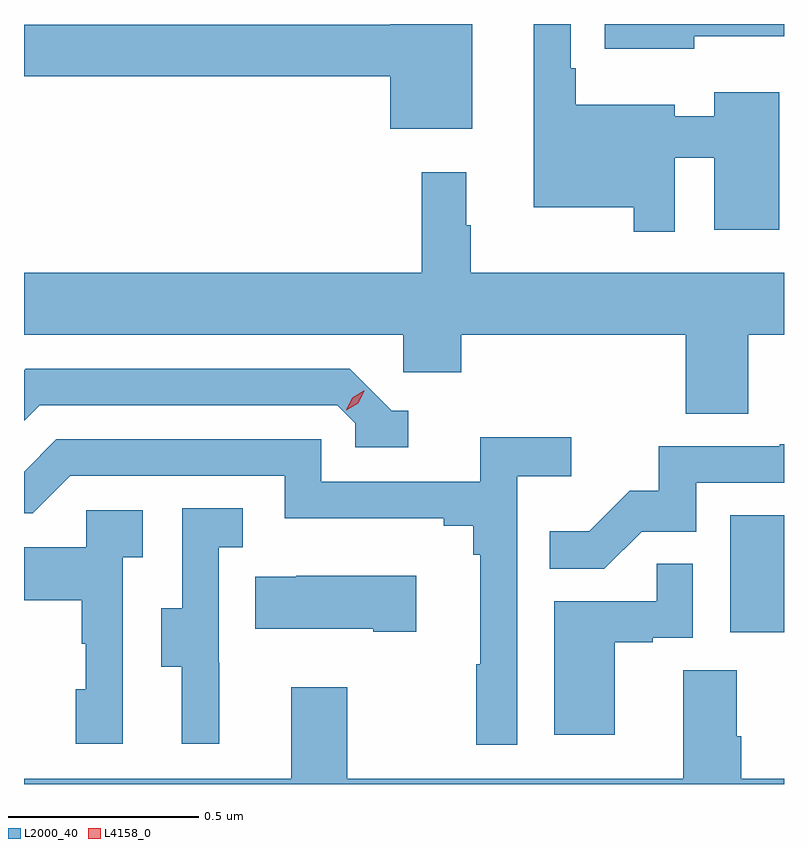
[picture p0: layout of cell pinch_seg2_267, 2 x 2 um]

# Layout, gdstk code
import gdstk
lib = gdstk.Library(unit=1e-6, precision=1e-09)
def R(c, l, rs):  # rectangles x0, y0, x1, y1
    for r in rs: c.add(gdstk.rectangle(r[:2], r[2:], *l))
def P(c, l, *ps):  # polygons
    for p in ps: c.add(gdstk.Polygon(p, *l))
L2000_40 = (2000, 40)
L4158_0 = (4158, 0)

pinch_seg2_267 = lib.new_cell('pinch_seg2_267')
R(pinch_seg2_267, L2000_40, [(912.836,660.174,912.978,660.481)])
P(pinch_seg2_267, L2000_40, [(912.69,661.422),(912.794,661.422),(912.794,661.233),(912.965,661.233),(912.965,661.594),(912.794,661.594),(912.794,661.531),(912.691,661.531),(912.691,661.561),(912.43,661.561),(912.43,661.657),(912.417,661.657),(912.417,661.774),(912.32,661.774),(912.32,661.292),(912.582,661.292),(912.582,661.227),(912.69,661.227)],
  [(912.157,661.774),(911.942,661.774),(911.942,661.772),(910.978,661.772),(910.978,661.636),(911.942,661.636),(911.942,661.499),(912.157,661.499)],
  [(912.742,661.742),(912.978,661.742),(912.978,661.774),(912.506,661.774),(912.506,661.709),(912.742,661.709)],
  [(912.884,660.956),(912.978,660.956),(912.978,661.12),(912.154,661.12),(912.154,661.244),(912.142,661.244),(912.142,661.384),(912.025,661.384),(912.025,661.12),(910.978,661.12),(910.978,660.956),(911.976,660.956),(911.976,660.858),(912.128,660.858),(912.128,660.956),(912.719,660.956),(912.719,660.748),(912.884,660.748)],
  [(911.989,660.756),(911.946,660.756),(911.835,660.867),(910.982,660.867),(910.978,660.863),(910.978,660.73),(911.019,660.771),(911.802,660.771),(911.85,660.723),(911.85,660.66),(911.989,660.66)],
  [(912.276,660.584),(912.418,660.584),(912.418,660.686),(912.179,660.686),(912.179,660.57),(911.76,660.57),(911.76,660.681),(911.063,660.681),(910.978,660.596),(910.978,660.486),(911.001,660.486),(911.1,660.585),(911.664,660.585),(911.664,660.473),(912.083,660.473),(912.083,660.454),(912.16,660.454),(912.16,660.377),(912.179,660.377),(912.179,660.089),(912.168,660.089),(912.168,659.877),(912.276,659.877)],
  [(912.603,660.438),(912.747,660.438),(912.747,660.567),(912.978,660.567),(912.978,660.668),(912.967,660.668),(912.967,660.663),(912.649,660.663),(912.649,660.546),(912.572,660.546),(912.465,660.439),(912.361,660.439),(912.361,660.34),(912.505,660.34)],
  [(911.492,660.093),(911.49,660.093),(911.49,660.397),(911.554,660.397),(911.554,660.5),(911.394,660.5),(911.394,660.237),(911.339,660.237),(911.339,660.082),(911.393,660.082),(911.393,659.88),(911.492,659.88)],
  [(911.238,660.371),(911.29,660.371),(911.29,660.495),(911.142,660.495),(911.142,660.397),(910.978,660.397),(910.978,660.257),(911.13,660.257),(911.13,660.143),(911.14,660.143),(911.14,660.024),(911.114,660.024),(911.114,659.88),(911.238,659.88)],
  [(912.532,660.147),(912.632,660.147),(912.632,660.159),(912.738,660.159),(912.738,660.353),(912.643,660.353),(912.643,660.255),(912.374,660.255),(912.374,659.904),(912.532,659.904)],
  [(912.01,660.322),(911.695,660.322),(911.695,660.319),(911.587,660.319),(911.587,660.182),(911.897,660.182),(911.897,660.175),(912.01,660.175)],
  [(912.978,659.788),(912.866,659.788),(912.866,659.9),(912.853,659.9),(912.853,660.074),(912.713,660.074),(912.713,659.788),(911.829,659.788),(911.829,660.028),(911.681,660.028),(911.681,659.788),(910.978,659.788),(910.978,659.774),(912.978,659.774)])
P(pinch_seg2_267, L4158_0, [(911.826,660.757),(911.826,660.758),(911.842,660.79),(911.872,660.809),(911.873,660.809),(911.873,660.809),(911.857,660.776),(911.826,660.757)])

lib.write_gds('pinch_seg2_267.gds')
